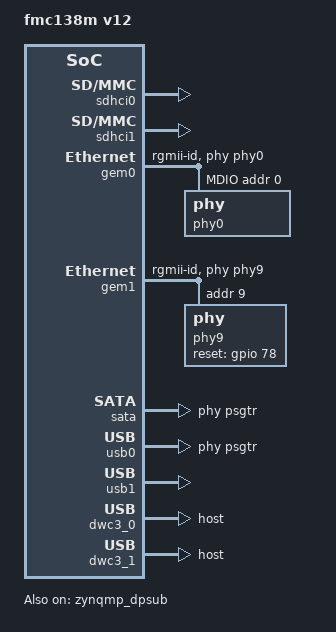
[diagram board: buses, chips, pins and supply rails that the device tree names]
/ {
    model = "fmc138m v12";
    aliases {
        ethernet0 = &gem0;
        i2c0 = &i2c0;
        serial0 = &uart0;
        serial1 = &uart1;
        spi0 = &qspi;
    };

    chosen {
        /*bootargs = "console=ttyPS0,115200 earlyprintk root=/dev/mmcblk1p2 rootfstype=ext4 nolock rw rootwait cpuidle.off=1 vmalloc=512M";*/
        bootargs = "console=ttyPS0,115200 earlyprintk root=/dev/mmcblk1p2 rootfstype=ext4 nolock rw rootwait cpuidle.off=1 iommu=off";
        /*bootargs = "console=ttyPS0,115200 earlyprintk cpuidle.off=1 iommu=off";*/
        stdout-path = "serial0:115200ns";
    };
};

&sdhci0 {
    status = "okay";
    clock-frequency = <100000000>;
    xlnx,mio_bank = <0x0>;
};

&sdhci1 {
    status = "okay";
    clock-frequency = <100000000>;
    no-1-8-v;
    xlnx,mio_bank = <1>;
    xlnx,has-cd = <0x1>;
    xlnx,has-power = <0x0>;
    xlnx,has-wp = <0x1>;
    disable-wp;
};

&gem0 {
	status = "okay";
	phy-handle = <&phy0>;
	phy-mode = "rgmii-id";
	ps7_ethernet_0_mdio: mdio {
		phy0: phy@0 {
			device_type = "ethernet-phy";
			reg = <0x0>;
			marvell,reg-init =
			/* Fix rx and tx clock transition timing */
			<2 0x15 0xffcf 0>, /* Reg 2,21 Clear bits 4, 5 */
			/* Coopper fifo depth */
			<2 0x10 0 0xd448>; /* Reg 2,16 <- 0xd448 */
		};
	};
};

&gem1 {
	status = "okay";
	local-mac-address = [00 0a 35 00 00 11];
	phy-mode = "rgmii-id";
	phy-handle = <&phy9>;
		phy9: phy@9 {
			/* for 1000-BASE-X mode use */
			xlnx,phy-type = <5>;
			/* for SGMII mode use   */
			/* xlnx,phy-type = <4>; */
			reset-gpios = <&gpio 78 0>;
			reg = <0x09>;
		};
};

&sata {
	status = "okay";
	/* SATA OOB timing settings */
	ceva,p0-cominit-params = /bits/ 8 <0x18 0x40 0x18 0x28>;
	ceva,p0-comwake-params = /bits/ 8 <0x06 0x14 0x08 0x0E>;
	ceva,p0-burst-params = /bits/ 8 <0x13 0x08 0x4A 0x06>;
	ceva,p0-retry-params = /bits/ 16 <0x96A4 0x3FFC>;

	ceva,p1-cominit-params = /bits/ 8 <0x18 0x40 0x18 0x28>;
	ceva,p1-comwake-params = /bits/ 8 <0x06 0x14 0x08 0x0E>;
	ceva,p1-burst-params = /bits/ 8 <0x13 0x08 0x4A 0x06>;
	ceva,p1-retry-params = /bits/ 16 <0x96A4 0x3FFC>;
	phy-names = "sata-phy";
	phys = <&psgtr 3 1 1 3>;
};

&usb0 {
	status = "okay";
	phy-names = "usb3-phy";
	phys = <&psgtr 2 4 0 2>;
};

&usb1 {
	status = "okay";
};

&dwc3_0 {
	status = "okay";
	dr_mode = "host";
	snps,usb3_lpm_capable;
	maximum-speed = "super-speed";
};

&dwc3_1 {
	status = "okay";
	dr_mode = "host";
	maximum-speed = "high-speed";
};

&zynqmp_dpsub {
	status = "okay";
	phy-names = "dp-phy0","dp-phy1";
	phys = 	<&psgtr 1 6 0 0>, <&psgtr 0 6 1 0>;
};

&xdma_0 {
    status = "okay";
};
